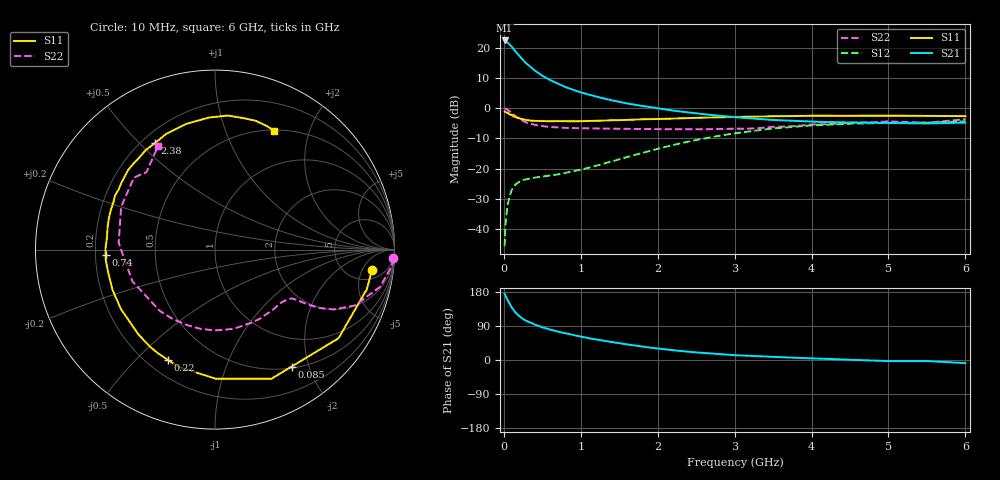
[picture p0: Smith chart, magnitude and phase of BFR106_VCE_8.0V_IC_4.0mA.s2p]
! Infineon Technologies  Discrete & RF Semiconductors
! BFR106
! VCE =  8.0 V,  IC =  4.0 mA
! Common Emitter S-Parameters:  Nov 2015
# GHz  S  MA  R  50
!  f  S11  S21  S12  S22
! GHz  MAG  ANG  MAG  ANG  MAG  ANG  MAG  ANG
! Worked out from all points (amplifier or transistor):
!   210 points, 10 MHz to 6 GHz, reference 50 ohm
!   highest |S21| = 22.4 dB at 10 MHz (marker M1)
!   |S21| within 3 dB of that: start of sweep to 131.1 MHz
!   unconditionally stable (mu >= 1): 672.4 MHz to 1.813 GHz; 4.73 GHz to end of sweep
!   at 185 MHz: K = 0.34, MSG = 21.2 dB, |S12| = -24.6 dB
!   at 1.52 GHz: K = 1.12, MAG = 7.3 dB, |S12| = -16.8 dB
!   at 6 GHz: K = 1.02, MAG = -1.1 dB, |S12| = -4.3 dB
!   S11 on the Smith chart (normalised r, x): 10 MHz: 8, -8; 85 MHz: 0.52, -1.73; 220 MHz: 0.28, -0.62; 740 MHz: 0.24, -0.02; 2.38 GHz: 0.25, +0.56; 6 GHz: 0.51, +1.49
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0.01  0.8815 -7.4  13.23 174.6  0.0052 88.4  0.9952 -2.8
0.02  0.8743 -14.6  13.06 170.7  0.0107 83.9  0.9882 -5.4
0.05  0.8472 -35.7  12.23 156.9  0.0252 71.2  0.9431 -12.7
0.085  0.7791 -56.8  10.96 145.2  0.038 60.8  0.8685 -18.8
0.1  0.7852 -66.4  10.57 139.4  0.0437 58.2  0.8399 -21.7
0.15  0.719 -89.9  8.751 125.1  0.0545 48.4  0.7406 -26.8
0.2  0.6836 -107.6  7.384 115.9  0.0605 42.8  0.669 -29.1
0.22  0.6684 -113.0  6.92 113.0  0.0622 41.3  0.646 -29.6
0.26  0.6517 -123.5  6.087 106.9  0.0653 39.1  0.6045 -30.5
0.3  0.6371 -131.9  5.397 102.4  0.0669 38.3  0.5759 -31.0
0.4  0.62 -147.6  4.226 93.6  0.0709 37.5  0.53 -31.7
0.5  0.6135 -158.5  3.448 86.2  0.0739 38.6  0.5046 -32.6
0.6  0.6087 -167.4  2.931 80.3  0.0772 41.2  0.4897 -34.4
0.74  0.6102 -177.0  2.422 73.2  0.0821 45.7  0.4772 -37.4
1.02  0.6119 167.3  1.799 60.9  0.0973 54.9  0.4661 -44.7
1.4  0.6336 151.5  1.354 47.4  0.131 64.2  0.4591 -57.3
2.02  0.6633 130.1  0.986 29.9  0.216 66.7  0.4499 -82.4
2.38  0.6814 119.4  0.861 22.0  0.2767 63.3  0.4483 -99.7
3.1  0.72 100.9  0.695 11.8  0.3986 50.6  0.4576 -137.5
4.1  0.7494 83.3  0.594 3.7  0.5251 29.5  0.5395 171.7
5.1  0.751 71.2  0.569 -2.8  0.5739 11.8  0.5978 137.1
6  0.7397 63.5  0.578 -8.2  0.609 -0.1  0.6587 118.7
